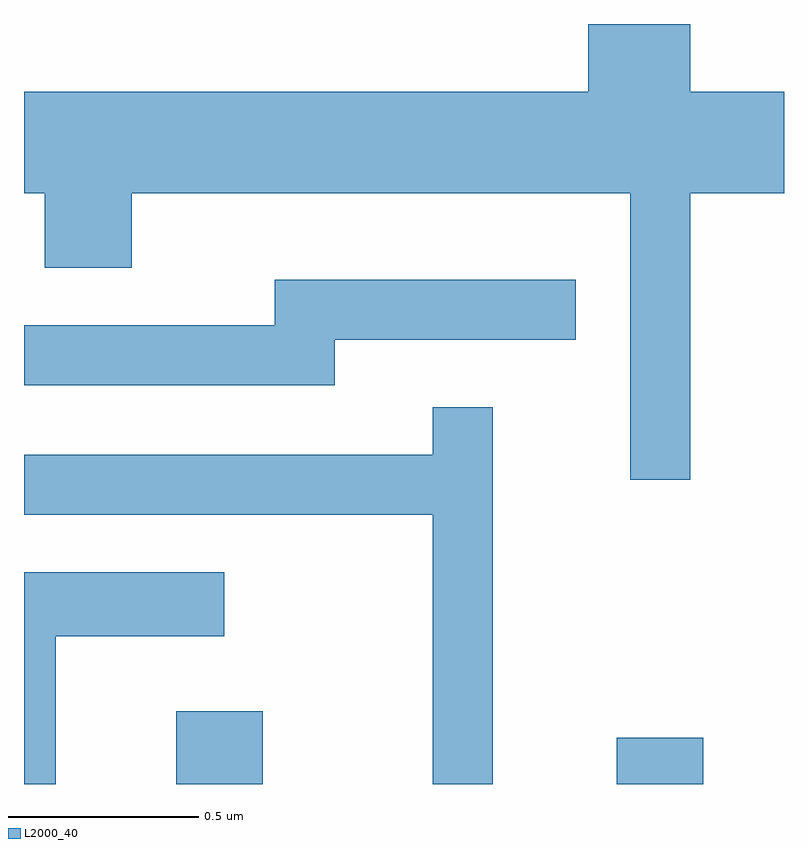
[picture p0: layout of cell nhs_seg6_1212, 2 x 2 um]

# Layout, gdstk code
import gdstk
lib = gdstk.Library(unit=1e-6, precision=1e-09)
def R(c, l, rs):  # rectangles x0, y0, x1, y1
    for r in rs: c.add(gdstk.rectangle(r[:2], r[2:], *l))
def P(c, l, *ps):  # polygons
    for p in ps: c.add(gdstk.Polygon(p, *l))
L2000_40 = (2000, 40)

nhs_seg6_1212 = lib.new_cell('nhs_seg6_1212')
R(nhs_seg6_1212, L2000_40, [(194.011,1646.162,194.239,1646.354), (195.171,1646.162,195.399,1646.284)])
P(nhs_seg6_1212, L2000_40, [(195.364,1647.716),(195.611,1647.716),(195.611,1647.984),(195.364,1647.984),(195.364,1648.162),(195.096,1648.162),(195.096,1647.984),(193.611,1647.984),(193.611,1647.716),(193.666,1647.716),(193.666,1647.521),(193.894,1647.521),(193.894,1647.716),(195.206,1647.716),(195.206,1646.963),(195.364,1646.963)],
  [(194.429,1647.331),(195.063,1647.331),(195.063,1647.489),(194.271,1647.489),(194.271,1647.369),(193.611,1647.369),(193.611,1647.211),(194.429,1647.211)],
  [(194.844,1647.153),(194.686,1647.153),(194.686,1647.029),(193.611,1647.029),(193.611,1646.871),(194.686,1646.871),(194.686,1646.162),(194.844,1646.162)],
  [(193.694,1646.551),(194.138,1646.551),(194.138,1646.719),(193.611,1646.719),(193.611,1646.162),(193.694,1646.162)])

lib.write_gds('nhs_seg6_1212.gds')
